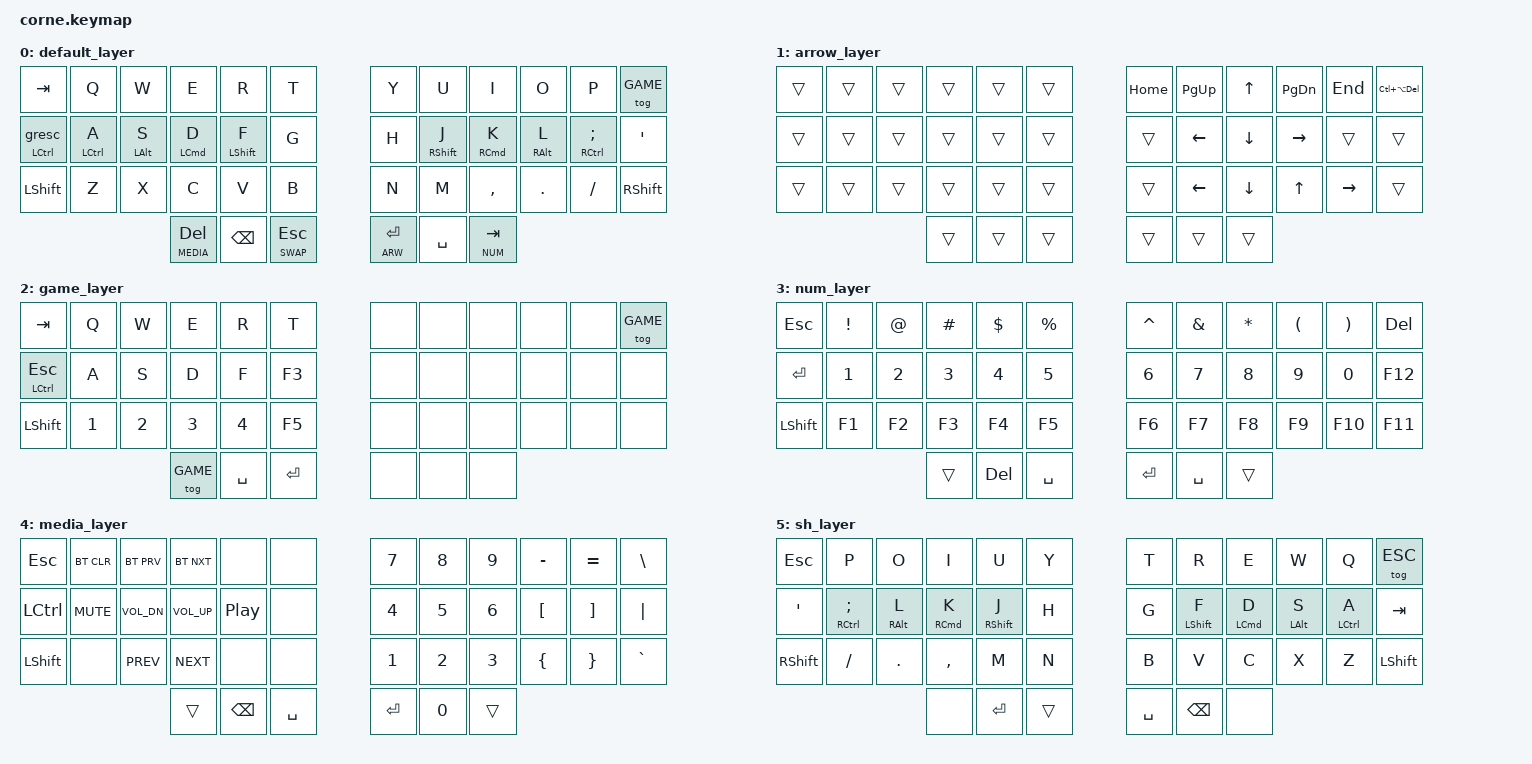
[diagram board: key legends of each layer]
/*
 * Copyright (c) 2020 The ZMK Contributors
 *
 * SPDX-License-Identifier: MIT
 */

#include <behaviors.dtsi>
#include <dt-bindings/zmk/keys.h>
#include <dt-bindings/zmk/bt.h>

#define DEFAULT 0
#define ARW     1
#define GAME    2
#define NUM     3
#define MEDIA   4
#define SWAP    5

/ {
	&kscan0 {
		debounce-period = <10>;
	};

    behaviors {
        hm: homerow_mods {
            compatible = "zmk,behavior-hold-tap";
            label = "HOMEROW_MODS";
            #binding-cells = <2>;
            tapping_term_ms = <225>;
            flavor = "tap-preferred";
            bindings = <&kp>, <&kp>;
        };

        mod_gresc: mod_gresc {
            compatible = "zmk,behavior-hold-tap";
            label = "MOD_GRESC";
            #binding-cells = <2>;
            tapping_term_ms = <150>;
            flavor = "tap-preferred";
            bindings = <&kp>, <&gresc>;
        };
    };

	combos {
		compatible = "zmk,combos";
		combo_quote {
			timeout-ms = <50>;
			key-positions = <21 22>;
			bindings = <&kp SQT>;
		};
	};
    keymap {
                compatible = "zmk,keymap";

                default_layer {
// -----------------------------------------------------------------------------------------
// |  TAB |  Q  |  W  |  E  |  R  |  T  |   |  Y  |  U  |  I  |  O  |  P  | GAME |
// |  ESC |CTRLA|ALT S|CMD D|SHFTF|  G  |   |  H  |SHFTJ|CMD K|ALT L|CTRL;|  '   |
// | SHFT |  Z  |  X  |  C  |  V  |  B  |   |  N  |  M  |  ,  |  .  |  /  | SHFT |
//                    | NMB |BKSPC| SPC |   | ENT | SPC | MDA |
                        bindings = <
   &kp TAB            &kp Q       &kp W      &kp E      &kp R       &kp T   &kp Y &kp U        &kp I      &kp O      &kp P          &tog GAME
   &mod_gresc LCTRL 0 &hm LCTRL A &hm LALT S &hm LCMD D &hm LSHFT F &kp G   &kp H &hm RSHFT J  &hm RCMD K &hm RALT L &hm RCTRL SEMI &kp SQT
   &kp LSHFT          &kp Z       &kp X      &kp C      &kp V       &kp B   &kp N &kp M        &kp COMMA  &kp DOT    &kp FSLH       &kp RSHFT
                                      &lt MEDIA DEL &kp BSPC &lt SWAP ESC   &lt ARW RET &kp SPACE &lt NUM TAB
                        >;
                };
                arrow_layer {
// -----------------------------------------------------------------------------------------
// |      |     |     |     |     |     |   |HOME | PU  |  U  | PD  | END |      |
// |      |     |     |     |     |     |   |     |  L  |  D  |  R  |     |      |
// |      |     |     |     |     |     |   |     |  L  |  D  |  U  |  R  |      |
//                    |     |     |     |   |     |     |     |
                        bindings = <
   &trans &trans &trans &trans &trans &trans   &kp HOME &kp PG_UP &kp UP   &kp PG_DN &kp END   &kp LC(LA(DEL))
   &trans &trans &trans &trans &trans &trans   &trans   &kp LEFT  &kp DOWN &kp RIGHT &trans    &trans
   &trans &trans &trans &trans &trans &trans   &trans   &kp LEFT  &kp DOWN &kp UP    &kp RIGHT &trans
                        &trans &trans &trans   &trans &trans &trans
                        >;
                };
                game_layer {
// -----------------------------------------------------------------------------------------
// |  TAB |  Q  |  W  |  E  |  R  |  T  |   |     |     |     |     |     | DEF  |
// | ESC  |  A  |  S  |  D  |  F  | F3  |   |     |     |     |     |     |      |
// | SHFT |  1  |  2  |  3  |  4  | F5  |   |     |     |     |     |     |      |
//                    | DEF | SPC | ENT |   |     |     |     |
                        bindings = <
   &kp TAB       &kp Q  &kp W  &kp E  &kp R  &kp T    &none &none &none &none &none &tog GAME
   &mt LCTRL ESC &kp A  &kp S  &kp D  &kp F  &kp F3   &none &none &none &none &none &none
   &kp LSHFT     &kp N1 &kp N2 &kp N3 &kp N4 &kp F5   &none &none &none &none &none &none
                        &tog GAME &kp SPACE &kp RET   &none &none &none
                        >;
                };
                num_layer {
// -----------------------------------------------------------------------------------------
// |  ESC |  !  |  @  |  #  |  $  |  %  |   |  ^  |  &  |  *  |  (  |  )  | DEL  |
// |  ENT |  1  |  2  |  3  |  4  |  5  |   |  6  |  7  |  8  |  9  |  0  | F12  |
// | SHFT | F1  | F2  | F3  | F4  | F5  |   | F6  | F7  | F8  | F9  | F10 | F11  |
//                    |     | DEL | SPC |   | ENT | SPC |     |
                        bindings = <
   &kp ESC   &kp EXCL &kp AT  &kp HASH &kp DLLR &kp PRCNT   &kp CARET &kp AMPS &kp ASTRK &kp LPAR &kp RPAR &kp DEL
   &kp RET   &kp N1   &kp N2  &kp N3   &kp N4   &kp N5      &kp N6    &kp N7   &kp N8    &kp N9   &kp N0   &kp F12
   &kp LSHFT &kp F1   &kp F2  &kp F3   &kp F4   &kp F5      &kp F6    &kp F7   &kp F8    &kp F9   &kp F10  &kp F11
                                 &trans &kp DEL &kp SPACE   &kp RET &kp SPACE &trans
                        >;
                };
                media_layer {
// -----------------------------------------------------------------------------------------
// |  ESC |BTCLR|BTPRV|BTNXT|     |     |   |  7  |  8  |  9  |  -  |  =  |  \  |
// | CTRL |MUTE |V DN |V UP | PLY |     |   |  4  |  5  |  6  |  [  |  ]  | "|" |
// | SHFT |     | RW  | FF  |     |     |   |  1  |  2  |  3  |  {  |  }  |  `  |
//                    |     |BKSPC| SPC |   | RET |  0  |     |
                        bindings = <
   &kp  ESC  &bt BT_CLR &bt BT_PRV   &bt BT_NXT   &none    &none   &kp N7 &kp N8 &kp N9 &kp MINUS &kp EQUAL &kp BSLH
   &kp LCTRL &kp C_MUTE &kp C_VOL_DN &kp C_VOL_UP &kp C_PP &none   &kp N4 &kp N5 &kp N6 &kp LBKT  &kp RBKT  &kp PIPE
   &kp LSHFT &none      &kp C_PREV   &kp C_NEXT   &none    &none   &kp N1 &kp N2 &kp N3 &kp LBRC  &kp RBRC  &kp GRAVE
                                       &trans &kp BSPC &kp SPACE   &kp RET &kp N0 &trans
                        >;
                };
                sh_layer {
// -----------------------------------------------------------------------------------------
// |  ESC |  P  |  O  |  I  |  U  |  Y  |   |  T  |  R  |  E  |  W  |  Q  | ESC  |
// |   '  |CTRL;|ALT L|CMD K|SHFTJ|  H  |   |  G  |SHFTF|CMD D|ALT S|CTRLA| TAB  |
// | SHFT |  /  |  .  |  ,  |  M  |  N  |   |  B  |  V  |  C  |  X  |  Z  | SHFT |
//                    |     | ENT |     |   | SPC |BKSPC|     |
                        bindings = <
   &kp ESC   &kp P          &kp O      &kp I      &kp U       &kp Y   &kp T &kp R        &kp E      &kp W      &kp Q          &tog ESC
   &kp SQT   &hm RCTRL SEMI &hm RALT L &hm RCMD K &hm RSHFT J &kp H   &kp G &hm LSHFT F  &hm LCMD D &hm LALT S &hm LCTRL A    &kp TAB
   &kp RSHFT &kp FSLH       &kp DOT    &kp COMMA  &kp M       &kp N   &kp B &kp V        &kp C      &kp X      &kp Z          &kp LSHFT
                                            &none &kp RET &trans   &kp SPACE &kp BSPC &none
                        >;
                };
        };
};
